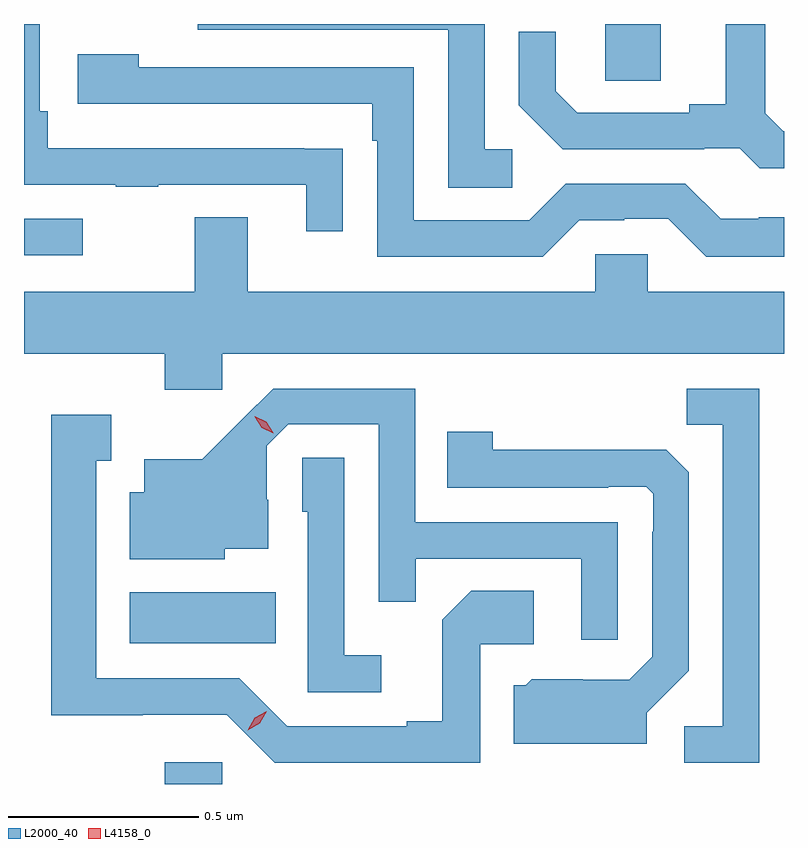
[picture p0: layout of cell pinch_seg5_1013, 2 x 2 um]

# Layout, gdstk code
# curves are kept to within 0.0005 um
import gdstk
lib = gdstk.Library(unit=1e-6, precision=1e-09)
def R(c, l, rs):  # rectangles x0, y0, x1, y1
    for r in rs: c.add(gdstk.rectangle(r[:2], r[2:], *l))
def P(c, l, *ps):  # polygons
    for p in ps: c.add(gdstk.Polygon(p, *l))
L2000_40 = (2000, 40)
L4158_0 = (4158, 0)

pinch_seg5_1013 = lib.new_cell('pinch_seg5_1013')
R(pinch_seg5_1013, L2000_40, [(750.185,894.256,750.336,894.313), (750.092,894.626,750.476,894.76), (749.814,895.647,749.968,895.743), (751.344,896.107,751.489,896.256)])
P(pinch_seg5_1013, L2000_40, [(751.099,895.926),(751.026,895.926),(751.026,896.256),(750.271,896.256),(750.271,896.241),(750.93,896.241),(750.93,895.825),(751.099,895.825)],
  [(750.653,895.928),(750.551,895.928),(750.551,895.929),(749.876,895.929),(749.876,896.026),(749.856,896.026),(749.856,896.256),(749.814,896.256),(749.814,895.833),(750.055,895.833),(750.055,895.828),(750.167,895.828),(750.167,895.833),(750.557,895.833),(750.557,895.71),(750.653,895.71)],
  [(751.814,895.974),(751.812,895.974),(751.765,896.021),(751.765,896.256),(751.661,896.256),(751.661,896.045),(751.565,896.045),(751.565,896.022),(751.27,896.022),(751.213,896.079),(751.213,896.236),(751.116,896.236),(751.116,896.042),(751.232,895.926),(751.604,895.926),(751.604,895.929),(751.698,895.929),(751.75,895.877),(751.814,895.877)],
  [(751.814,895.747),(751.747,895.747),(751.747,895.743),(751.647,895.743),(751.554,895.836),(751.239,895.836),(751.143,895.74),(750.84,895.74),(750.84,896.142),(750.116,896.142),(750.116,896.176),(749.955,896.176),(749.955,896.046),(750.731,896.046),(750.731,895.949),(750.744,895.949),(750.744,895.644),(751.179,895.644),(751.275,895.74),(751.394,895.74),(751.394,895.743),(751.509,895.743),(751.609,895.643),(751.814,895.643)],
  [(750.336,895.388),(751.814,895.388),(751.814,895.552),(751.455,895.552),(751.455,895.65),(751.317,895.65),(751.317,895.552),(750.403,895.552),(750.403,895.747),(750.263,895.747),(750.263,895.552),(749.814,895.552),(749.814,895.388),(750.185,895.388),(750.185,895.293),(750.336,895.293)],
  [(751.749,895.296),(751.558,895.296),(751.558,895.201),(751.653,895.201),(751.653,894.408),(751.551,894.408),(751.551,894.312),(751.749,894.312)],
  [(751.377,894.945),(750.843,894.945),(750.843,895.296),(750.47,895.296),(750.283,895.111),(750.131,895.111),(750.131,895.024),(750.092,895.024),(750.092,894.848),(750.342,894.848),(750.342,894.875),(750.457,894.875),(750.457,895.004),(750.453,895.004),(750.453,895.146),(750.51,895.203),(750.747,895.203),(750.747,894.736),(750.845,894.736),(750.845,894.849),(751.281,894.849),(751.281,894.636),(751.377,894.636)],
  [(751.014,894.624),(751.156,894.624),(751.156,894.764),(750.991,894.764),(750.915,894.688),(750.915,894.421),(750.821,894.421),(750.821,894.408),(750.507,894.408),(750.381,894.534),(750.004,894.534),(750.004,895.107),(750.043,895.107),(750.043,895.228),(749.886,895.228),(749.886,894.437),(750.126,894.437),(750.126,894.438),(750.348,894.438),(750.474,894.312),(751.014,894.312)],
  [(751.453,894.444),(751.563,894.554),(751.563,895.076),(751.504,895.135),(751.403,895.135),(751.403,895.136),(751.047,895.136),(751.047,895.183),(750.928,895.183),(750.928,895.035),(751.352,895.035),(751.352,895.038),(751.452,895.038),(751.47,895.02),(751.47,894.92),(751.467,894.92),(751.467,894.591),(751.407,894.531),(751.284,894.531),(751.284,894.532),(751.15,894.532),(751.134,894.516),(751.103,894.516),(751.103,894.362),(751.453,894.362)],
  [(750.754,894.595),(750.657,894.595),(750.657,895.115),(750.546,895.115),(750.546,894.972),(750.561,894.972),(750.561,894.498),(750.754,894.498)])
P(pinch_seg5_1013, L4158_0, [(750.403,894.398),(750.403,894.398),(750.421,894.43),(750.453,894.448),(750.453,894.448),(750.453,894.448),(750.435,894.416),(750.403,894.398)],
  [(750.47,895.179),(750.439,895.194),(750.421,895.223),(750.421,895.224),(750.421,895.224),(750.452,895.209),(750.47,895.18),(750.47,895.179)])

lib.write_gds('pinch_seg5_1013.gds')
